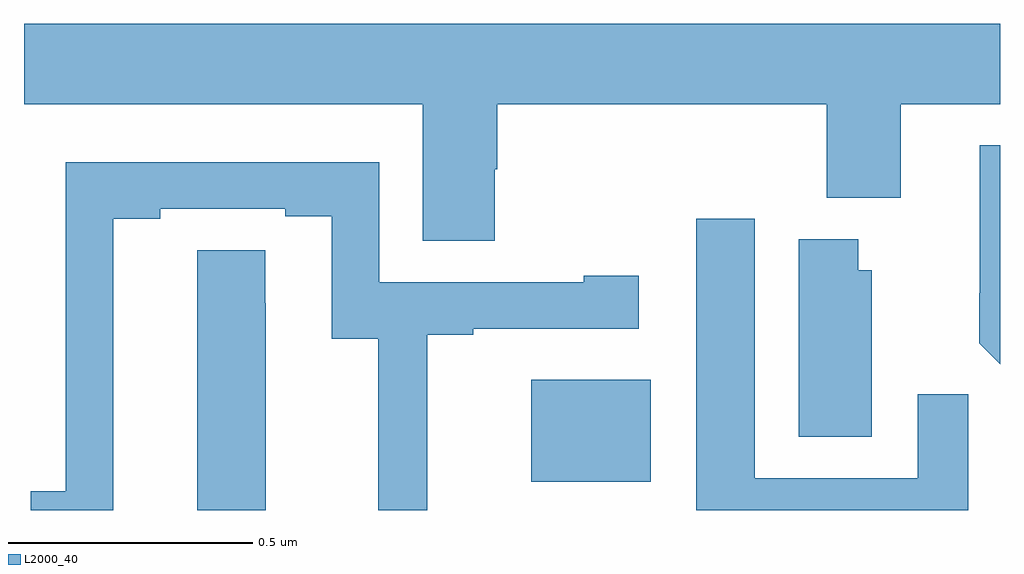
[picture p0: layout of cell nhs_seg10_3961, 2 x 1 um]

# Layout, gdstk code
import gdstk
lib = gdstk.Library(unit=1e-6, precision=1e-09)
def R(c, l, rs):  # rectangles x0, y0, x1, y1
    for r in rs: c.add(gdstk.rectangle(r[:2], r[2:], *l))
def P(c, l, *ps):  # polygons
    for p in ps: c.add(gdstk.Polygon(p, *l))
L2000_40 = (2000, 40)

nhs_seg10_3961 = lib.new_cell('nhs_seg10_3961')
R(nhs_seg10_3961, L2000_40, [(161.039,1283.558,161.284,1283.767)])
P(nhs_seg10_3961, L2000_40, [(160.965,1284.198),(160.97,1284.198),(160.97,1284.332),(161.645,1284.332),(161.645,1284.14),(161.797,1284.14),(161.797,1284.332),(162,1284.332),(162,1284.496),(160,1284.496),(160,1284.332),(160.817,1284.332),(160.817,1284.052),(160.965,1284.052)],
  [(162,1284.247),(161.958,1284.247),(161.958,1283.944),(161.957,1283.944),(161.957,1283.842),(162,1283.799)],
  [(160.183,1284.097),(160.279,1284.097),(160.279,1284.117),(160.535,1284.117),(160.535,1284.102),(160.631,1284.102),(160.631,1283.851),(160.726,1283.851),(160.726,1283.5),(160.826,1283.5),(160.826,1283.859),(160.921,1283.859),(160.921,1283.871),(161.26,1283.871),(161.26,1283.98),(161.147,1283.98),(161.147,1283.967),(160.728,1283.967),(160.728,1284.213),(160.086,1284.213),(160.086,1283.538),(160.014,1283.538),(160.014,1283.5),(160.183,1283.5)],
  [(161.935,1283.737),(161.831,1283.737),(161.831,1283.565),(161.497,1283.565),(161.497,1284.097),(161.378,1284.097),(161.378,1283.5),(161.935,1283.5)],
  [(161.737,1283.991),(161.71,1283.991),(161.71,1284.055),(161.588,1284.055),(161.588,1283.65),(161.737,1283.65)],
  [(160.495,1283.924),(160.494,1283.924),(160.494,1284.032),(160.355,1284.032),(160.355,1283.5),(160.495,1283.5)])

lib.write_gds('nhs_seg10_3961.gds')
